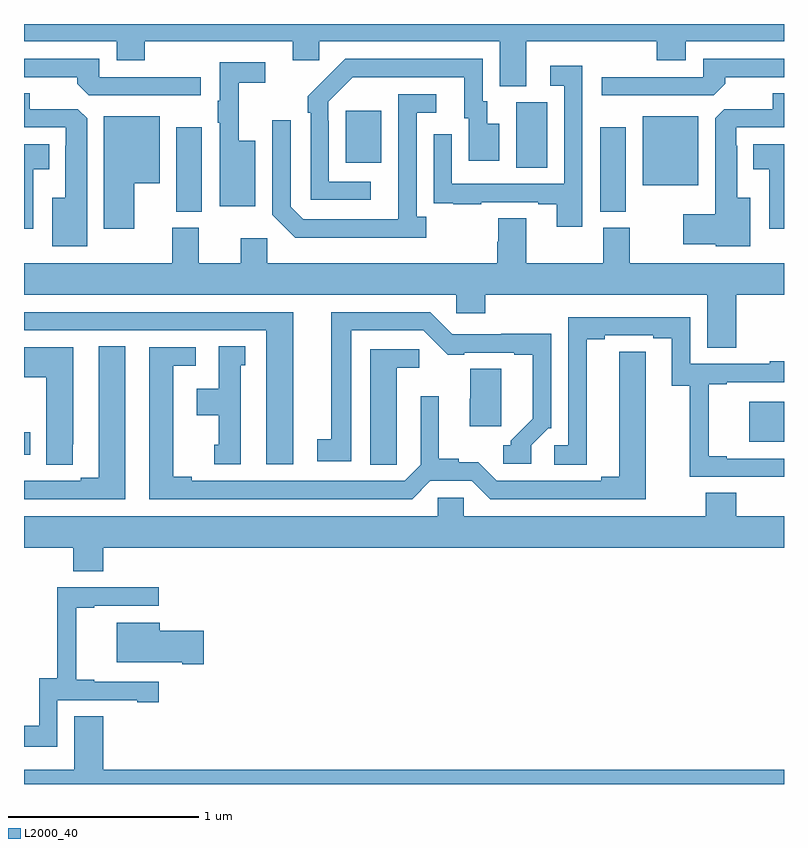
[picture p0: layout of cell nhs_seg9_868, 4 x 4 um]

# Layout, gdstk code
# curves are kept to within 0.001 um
import gdstk
lib = gdstk.Library(unit=1e-6, precision=1e-09)
def R(c, l, rs):  # rectangles x0, y0, x1, y1
    for r in rs: c.add(gdstk.rectangle(r[:2], r[2:], *l))
def P(c, l, *ps):  # polygons
    for p in ps: c.add(gdstk.Polygon(p, *l))
L2000_40 = (2000, 40)

nhs_seg9_868 = lib.new_cell('nhs_seg9_868')
R(nhs_seg9_868, L2000_40, [(157,1206.234,157.033,1206.351), (160.817,1206.302,161,1206.511), (157.802,1207.513,157.936,1207.957), (160.034,1207.513,160.168,1207.957), (160.256,1207.652,160.549,1208.014), (159.59,1207.744,159.754,1208.088), (158.693,1207.769,158.881,1208.044)])
P(nhs_seg9_868, L2000_40, [(159.643,1208.408),(160.331,1208.408),(160.331,1208.309),(160.483,1208.309),(160.483,1208.408),(161,1208.408),(161,1208.5),(157,1208.5),(157,1208.408),(157.487,1208.408),(157.487,1208.309),(157.635,1208.309),(157.635,1208.408),(158.414,1208.408),(158.414,1208.31),(158.553,1208.31),(158.553,1208.408),(159.503,1208.408),(159.503,1208.173),(159.643,1208.173)],
  [(157.93,1208.22),(157.395,1208.22),(157.395,1208.316),(157,1208.316),(157,1208.22),(157.28,1208.22),(157.28,1208.186),(157.341,1208.124),(157.93,1208.124)],
  [(160.691,1208.186),(160.691,1208.22),(161,1208.22),(161,1208.316),(160.575,1208.316),(160.575,1208.22),(160.041,1208.22),(160.041,1208.124),(160.629,1208.124)],
  [(158.824,1207.671),(158.604,1207.671),(158.604,1207.991),(158.601,1207.991),(158.601,1208.091),(158.73,1208.22),(159.317,1208.22),(159.317,1208.004),(159.341,1208.004),(159.341,1207.779),(159.502,1207.779),(159.502,1207.975),(159.439,1207.975),(159.439,1208.094),(159.414,1208.094),(159.414,1208.316),(158.69,1208.316),(158.493,1208.121),(158.493,1208.033),(158.508,1208.033),(158.508,1207.575),(158.824,1207.575)],
  [(158.218,1207.885),(158.129,1207.885),(158.129,1208.19),(158.269,1208.19),(158.269,1208.298),(158.031,1208.298),(158.031,1208.095),(158.019,1208.095),(158.019,1207.981),(158.03,1207.981),(158.03,1207.541),(158.218,1207.541)],
  [(159.939,1208.281),(159.771,1208.281),(159.771,1208.175),(159.843,1208.175),(159.843,1207.659),(159.252,1207.659),(159.252,1207.921),(159.156,1207.921),(159.156,1207.666),(159.157,1207.666),(159.157,1207.557),(159.259,1207.557),(159.259,1207.551),(159.407,1207.551),(159.407,1207.563),(159.707,1207.563),(159.707,1207.551),(159.803,1207.551),(159.803,1207.434),(159.939,1207.434)],
  [(160.822,1207.585),(160.753,1207.585),(160.753,1207.859),(160.749,1207.859),(160.749,1207.956),(161,1207.956),(161,1208.135),(160.94,1208.135),(160.94,1208.052),(160.686,1208.052),(160.637,1208.003),(160.637,1207.498),(160.47,1207.498),(160.47,1207.34),(160.641,1207.34),(160.641,1207.331),(160.822,1207.331)],
  [(157.333,1208.003),(157.284,1208.052),(157.03,1208.052),(157.03,1208.135),(157,1208.135),(157,1207.956),(157.221,1207.956),(157.221,1207.859),(157.217,1207.859),(157.217,1207.585),(157.148,1207.585),(157.148,1207.331),(157.333,1207.331)],
  [(159.118,1207.486),(159.066,1207.486),(159.066,1208.034),(159.169,1208.034),(159.169,1208.13),(158.97,1208.13),(158.969,1207.473),(158.469,1207.473),(158.403,1207.539),(158.403,1207.993),(158.307,1207.993),(158.307,1207.497),(158.428,1207.376),(159.118,1207.376)],
  [(157.579,1207.661),(157.714,1207.661),(157.714,1208.014),(157.421,1208.014),(157.421,1207.422),(157.579,1207.422)],
  [(161,1207.867),(160.838,1207.867),(160.838,1207.736),(160.922,1207.736),(160.922,1207.422),(161,1207.422)],
  [(157.048,1207.736),(157.132,1207.736),(157.132,1207.867),(157,1207.867),(157,1207.422),(157.048,1207.422)],
  [(160.748,1207.076),(161,1207.076),(161,1207.24),(160.189,1207.24),(160.189,1207.428),(160.049,1207.428),(160.049,1207.24),(159.643,1207.24),(159.643,1207.478),(159.496,1207.478),(159.496,1207.353),(159.491,1207.353),(159.491,1207.24),(158.28,1207.24),(158.28,1207.372),(158.141,1207.372),(158.141,1207.24),(157.921,1207.24),(157.921,1207.428),(157.781,1207.428),(157.781,1207.24),(157,1207.24),(157,1207.076),(159.276,1207.076),(159.276,1206.978),(159.428,1206.978),(159.428,1207.076),(160.595,1207.076),(160.595,1206.796),(160.748,1206.796)],
  [(158.416,1206.984),(157,1206.984),(157,1206.888),(158.276,1206.888),(158.276,1206.183),(158.416,1206.183)],
  [(159.669,1206.282),(159.759,1206.372),(159.774,1206.372),(159.774,1206.869),(159.511,1206.869),(159.511,1206.867),(159.255,1206.867),(159.138,1206.984),(158.618,1206.984),(158.618,1206.314),(158.544,1206.314),(158.544,1206.198),(158.722,1206.198),(158.722,1206.888),(159.102,1206.888),(159.23,1206.76),(159.316,1206.76),(159.316,1206.771),(159.581,1206.771),(159.581,1206.759),(159.677,1206.759),(159.677,1206.422),(159.561,1206.306),(159.561,1206.282),(159.522,1206.282),(159.522,1206.186),(159.669,1206.186)],
  [(161,1206.213),(160.699,1206.213),(160.699,1206.226),(160.604,1206.226),(160.604,1206.603),(160.699,1206.603),(160.699,1206.615),(161,1206.615),(161,1206.724),(160.925,1206.724),(160.925,1206.711),(160.506,1206.711),(160.506,1206.957),(159.864,1206.957),(159.864,1206.282),(159.792,1206.282),(159.792,1206.181),(159.961,1206.181),(159.961,1206.841),(160.057,1206.841),(160.057,1206.861),(160.313,1206.861),(160.313,1206.846),(160.409,1206.846),(160.409,1206.595),(160.504,1206.595),(160.504,1206.117),(161,1206.117)],
  [(158.14,1206.705),(158.164,1206.705),(158.164,1206.803),(158.024,1206.803),(158.024,1206.58),(157.91,1206.58),(157.91,1206.44),(158.024,1206.44),(158.024,1206.285),(158,1206.285),(158,1206.183),(158.14,1206.183)],
  [(157.534,1206.803),(157.394,1206.803),(157.394,1206.111),(157.298,1206.111),(157.298,1206.096),(157.022,1206.096),(157.022,1206.097),(157,1206.097),(157,1206),(157.534,1206)],
  [(157.257,1206.289),(157.258,1206.289),(157.258,1206.799),(157,1206.799),(157,1206.64),(157.118,1206.64),(157.118,1206.181),(157.257,1206.181)],
  [(159.139,1206.096),(159.357,1206.096),(159.453,1206),(160.273,1206),(160.272,1206.776),(160.133,1206.776),(160.133,1206.116),(160.037,1206.116),(160.037,1206.096),(159.489,1206.096),(159.392,1206.194),(159.288,1206.194),(159.288,1206.212),(159.184,1206.212),(159.184,1206.541),(159.087,1206.541),(159.087,1206.18),(159.003,1206.096),(157.882,1206.096),(157.882,1206.116),(157.786,1206.116),(157.786,1206.702),(157.903,1206.702),(157.903,1206.798),(157.658,1206.798),(157.658,1206),(159.043,1206)],
  [(158.961,1206.289),(158.962,1206.289),(158.962,1206.692),(159.079,1206.692),(159.079,1206.789),(158.822,1206.789),(158.822,1206.181),(158.961,1206.181)],
  [(159.511,1206.686),(159.349,1206.686),(159.349,1206.528),(159.347,1206.528),(159.347,1206.384),(159.511,1206.384)],
  [(157.418,1205.744),(161,1205.744),(161,1205.908),(160.748,1205.908),(160.748,1206.032),(160.588,1206.032),(160.588,1205.908),(159.315,1205.908),(159.315,1206.006),(159.177,1206.006),(159.177,1205.908),(157,1205.908),(157,1205.744),(157.258,1205.744),(157.258,1205.62),(157.418,1205.62)],
  [(157.176,1204.941),(157.595,1204.941),(157.595,1204.929),(157.708,1204.929),(157.708,1205.037),(157.369,1205.037),(157.369,1205.05),(157.274,1205.05),(157.274,1205.427),(157.369,1205.427),(157.369,1205.439),(157.708,1205.439),(157.708,1205.535),(157.174,1205.535),(157.174,1205.057),(157.079,1205.057),(157.079,1204.806),(157,1204.806),(157,1204.695),(157.176,1204.695)],
  [(157.945,1205.307),(157.714,1205.307),(157.714,1205.35),(157.487,1205.35),(157.487,1205.141),(157.832,1205.141),(157.832,1205.129),(157.945,1205.129)],
  [(161,1204.576),(157.418,1204.576),(157.418,1204.856),(157.265,1204.856),(157.265,1204.576),(157,1204.576),(157,1204.5),(161,1204.5)])

lib.write_gds('nhs_seg9_868.gds')
